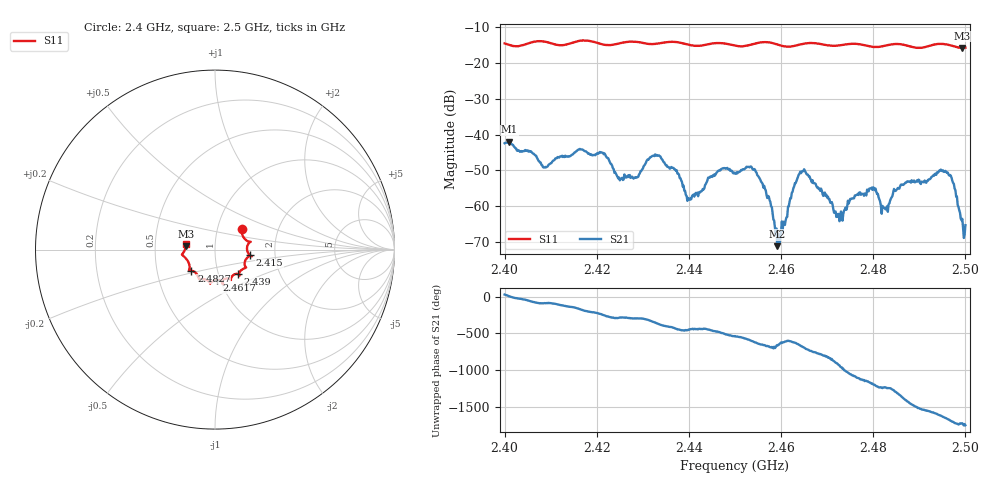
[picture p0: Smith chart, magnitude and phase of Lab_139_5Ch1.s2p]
# Hz S RI R 50
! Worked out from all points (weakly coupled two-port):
!   601 points, 2.4 GHz to 2.5 GHz, reference 50 ohm
!   highest |S21| = -42.03 dB at 2.401 GHz (marker M1); lowest = -71.3 dB at 2.4592 GHz (marker M2)
!   lowest |S11| = -15.7 dB at 2.4993 GHz (marker M3), VSWR 1.39, Z = 36 + j1.44 ohm
!   |S11| at or under -10 dB: start of sweep to end of sweep
!   S12 and S22 are empty: the file has one direction only
!   S11 on the Smith chart (normalised r, x): 2.4 GHz: 1.31, +0.31; 2.415 GHz: 1.48, -0.10; 2.439 GHz: 1.24, -0.35; 2.4617 GHz: 0.96, -0.34; 2.4827 GHz: 0.75, -0.18; 2.5 GHz: 0.72, +0.05
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2.4e9  0.1506 0.1147  0.00656 0.00375  0 0  0 0
2.401e9  0.1497 0.0999  0.00786 0.000943  0 0  0 0
2.408833e9  0.1954 0.0419  7.02e-05 -0.00352  0 0  0 0
2.415e9  0.1935 -0.0314  -0.00446 -0.00313  0 0  0 0
2.416667e9  0.2037 -0.0382  -0.00619 -0.0002  0 0  0 0
2.425333e9  0.168 -0.0931  0.000652 0.00233  0 0  0 0
2.433333e9  0.1359 -0.1309  0.00501 -0.000846  0 0  0 0
2.439e9  0.1288 -0.1363  -0.000365 -0.00159  0 0  0 0
2.45e9  0.0714 -0.1612  -0.00285 -0.000176  0 0  0 0
2.454667e9  0.0398 -0.1862  7.23e-06 0.00293  0 0  0 0
2.459167e9  0.0375 -0.179  0.000131 0.00024  0 0  0 0
2.461667e9  0.0084 -0.17  -0.000459 0.000873  0 0  0 0
2.464167e9  -0.021 -0.1816  0.00177 0.00245  0 0  0 0
2.466667e9  -0.0269 -0.1898  0.00193 -0.000911  0 0  0 0
2.472333e9  -0.0639 -0.1643  -0.000652 0.000259  0 0  0 0
2.479667e9  -0.1021 -0.1359  -0.000554 -0.00172  0 0  0 0
2.482667e9  -0.1317 -0.1175  -0.000819 -0.00036  0 0  0 0
2.483333e9  -0.1374 -0.1171  -0.00102 -0.000239  0 0  0 0
2.495167e9  -0.1837 -0.027  -0.00298 0.00104  0 0  0 0
2.497167e9  -0.174 -0.0136  -0.00016 0.00224  0 0  0 0
2.499333e9  -0.1625 0.0194  0.000194 0.000631  0 0  0 0
2.5e9  -0.1621 0.0316  0.000365 0.000395  0 0  0 0
